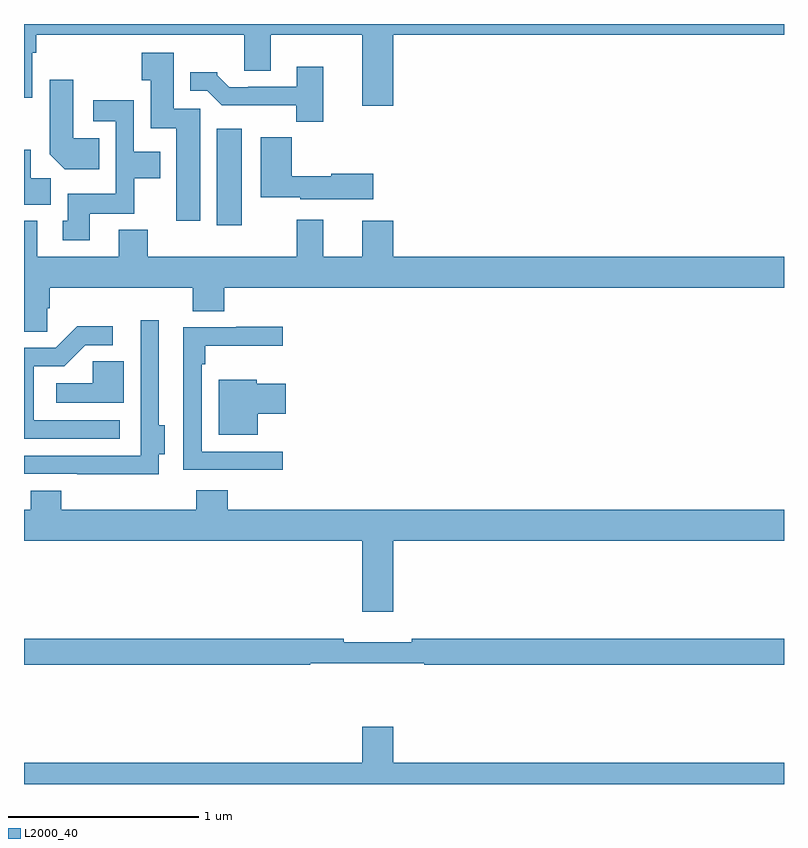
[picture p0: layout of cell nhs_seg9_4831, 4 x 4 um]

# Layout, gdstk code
import gdstk
lib = gdstk.Library(unit=1e-6, precision=1e-09)
def R(c, l, rs):  # rectangles x0, y0, x1, y1
    for r in rs: c.add(gdstk.rectangle(r[:2], r[2:], *l))
def P(c, l, *ps):  # polygons
    for p in ps: c.add(gdstk.Polygon(p, *l))
L2000_40 = (2000, 40)

nhs_seg9_4831 = lib.new_cell('nhs_seg9_4831')
R(nhs_seg9_4831, L2000_40, [(392.015,1171.44,392.146,1171.948)])
P(nhs_seg9_4831, L2000_40, [(391,1172.112),(391.044,1172.112),(391.044,1172.348),(391.064,1172.348),(391.064,1172.444),(392.159,1172.444),(392.159,1172.254),(392.299,1172.254),(392.299,1172.444),(392.78,1172.444),(392.78,1172.07),(392.944,1172.07),(392.944,1172.444),(395,1172.444),(395,1172.5),(391,1172.5)],
  [(391.927,1172.055),(391.789,1172.055),(391.789,1172.35),(391.621,1172.35),(391.621,1172.203),(391.667,1172.203),(391.667,1171.952),(391.802,1171.952),(391.802,1171.464),(391.927,1171.464)],
  [(392.575,1172.275),(392.435,1172.275),(392.435,1172.169),(392.179,1172.169),(392.179,1172.166),(392.08,1172.166),(392.016,1172.23),(392.016,1172.245),(391.874,1172.245),(391.874,1172.148),(391.965,1172.148),(392.041,1172.072),(392.433,1172.072),(392.433,1171.985),(392.575,1171.985)],
  [(391.397,1171.9),(391.258,1171.9),(391.258,1172.206),(391.136,1172.206),(391.136,1171.814),(391.214,1171.736),(391.397,1171.736)],
  [(391.345,1171.502),(391.581,1171.502),(391.581,1171.688),(391.717,1171.688),(391.717,1171.828),(391.578,1171.828),(391.578,1172.098),(391.365,1172.098),(391.365,1171.989),(391.482,1171.989),(391.482,1171.606),(391.229,1171.606),(391.229,1171.464),(391.205,1171.464),(391.205,1171.362),(391.345,1171.362)],
  [(392.839,1171.712),(392.616,1171.712),(392.616,1171.699),(392.408,1171.699),(392.408,1171.903),(392.246,1171.903),(392.246,1171.589),(392.454,1171.589),(392.454,1171.577),(392.839,1171.577)],
  [(391.141,1171.688),(391.036,1171.688),(391.036,1171.837),(391,1171.837),(391,1171.55),(391.141,1171.55)],
  [(391.122,1171.003),(391.136,1171.003),(391.136,1171.112),(391.889,1171.112),(391.889,1170.988),(392.054,1170.988),(392.054,1171.112),(395,1171.112),(395,1171.276),(392.944,1171.276),(392.944,1171.465),(392.78,1171.465),(392.78,1171.276),(392.575,1171.276),(392.575,1171.471),(392.435,1171.471),(392.435,1171.276),(391.652,1171.276),(391.652,1171.417),(391.499,1171.417),(391.499,1171.276),(391.069,1171.276),(391.069,1171.465),(391,1171.465),(391,1170.88),(391.122,1170.88)],
  [(391.71,1170.236),(391.741,1170.236),(391.741,1170.389),(391.71,1170.389),(391.71,1170.94),(391.614,1170.94),(391.614,1170.228),(391,1170.228),(391,1170.132),(391.279,1170.132),(391.279,1170.131),(391.71,1170.131)],
  [(391.504,1170.414),(391.05,1170.414),(391.05,1170.699),(391.212,1170.699),(391.323,1170.81),(391.468,1170.81),(391.468,1170.908),(391.28,1170.908),(391.167,1170.795),(391,1170.795),(391,1170.318),(391.504,1170.318)],
  [(392.362,1170.249),(391.935,1170.249),(391.935,1170.71),(391.955,1170.71),(391.955,1170.806),(392.362,1170.806),(392.362,1170.907),(392.117,1170.907),(392.117,1170.903),(391.839,1170.903),(391.839,1170.153),(392.362,1170.153)],
  [(391.525,1170.725),(391.362,1170.725),(391.362,1170.61),(391.17,1170.61),(391.17,1170.506),(391.525,1170.506)],
  [(392.23,1170.449),(392.377,1170.449),(392.377,1170.607),(392.226,1170.607),(392.226,1170.628),(392.024,1170.628),(392.024,1170.338),(392.23,1170.338)],
  [(392.944,1169.78),(395,1169.78),(395,1169.944),(392.072,1169.944),(392.072,1170.046),(391.907,1170.046),(391.907,1169.944),(391.196,1169.944),(391.196,1170.043),(391.036,1170.043),(391.036,1169.944),(391,1169.944),(391,1169.78),(392.78,1169.78),(392.78,1169.406),(392.944,1169.406)],
  [(392.506,1169.136),(393.106,1169.136),(393.106,1169.128),(395,1169.128),(395,1169.264),(393.04,1169.264),(393.04,1169.245),(392.684,1169.245),(392.684,1169.264),(391,1169.264),(391,1169.128),(392.506,1169.128)],
  [(395,1168.612),(392.944,1168.612),(392.944,1168.801),(392.78,1168.801),(392.78,1168.612),(391,1168.612),(391,1168.5),(395,1168.5)])

lib.write_gds('nhs_seg9_4831.gds')
